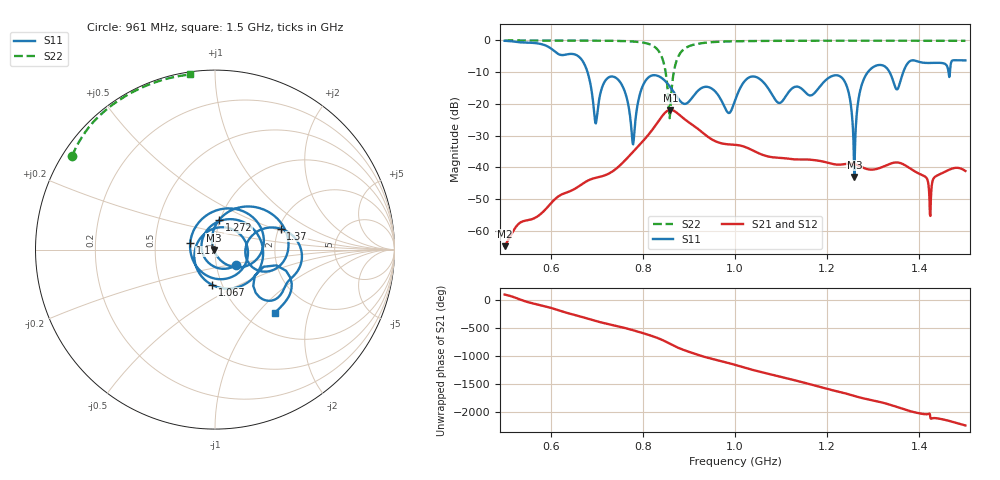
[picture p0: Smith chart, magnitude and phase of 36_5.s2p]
! TOUCHSTONE file generated by CST MICROWAVE STUDIO
! Date and time: Mon Nov 30 08:09:34 2020
! Project name: Scenario_1_Planar_Body_Tissue_Out_of_Line.cst
! Parameters = {dy1=259.5; L_HA=400; Ltissue=700; MT=2.54; Rad_Dielectric=30; Rad_Lower=7.3; Rad_Upper=30; Wtissue=700; a_HA=580; a_WG=246; b_HA=500; b_WG=121; c_HA=0; c_WG=187; d_feed=85; dx1=866; h_feed=15; h_lower=18; h_upper=40; hfat=3; hgap=25; hmuscle=50; hskin=1.5}
! Header version: 2018
! Port assignment regex: !\s*Touchstone port\s*([0-9]+)\s*=\s*(CST MWS port|CST DS port)\s*([0-9]+|Zmin|Zmax)\s*\(\"(.*)\"\)(\s*mode\s*([0-9]+))?.*
! Touchstone port assignment:
! Touchstone port 1 = CST MWS port 1 ("")
! Touchstone port 2 = CST MWS port 2 ("")
# GHz S DB R 50
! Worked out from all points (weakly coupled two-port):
!   1003 points, 500 MHz to 1.5 GHz, reference 50 ohm
!   highest |S21| = -21.87 dB at 860 MHz (marker M1); lowest = -64.8 dB at 500 MHz (marker M2)
!   lowest |S11| = -43.0 dB at 1.259 GHz (marker M3), VSWR 1.01, Z = 49.3 - j0.196 ohm
!   |S11| at or under -10 dB: 680 MHz to 1.288 GHz (608.3 MHz wide, 61.8 % of centre); 1.335 GHz to 1.365 GHz (29.64 MHz wide, 2.19 % of centre); 1.463383 GHz to 1.466466 GHz (3.083 MHz wide, 0.21 % of centre)
!   |S22| runs from -24.5 to 0.0 dB; largest |S21 - S12| = 0.00094
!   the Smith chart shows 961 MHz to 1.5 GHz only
!   S11 on the Smith chart (normalised r, x): 961 MHz: 1.24, -0.22; 1.067 GHz: 0.90, -0.37; 1.17 GHz: 0.76, +0.05; 1.272 GHz: 0.99, +0.33; 1.37 GHz: 2.05, +0.56; 1.5 GHz: 1.35, -1.24
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0.5  -0.12 -122.1  -64.82 88.0  -64.82 88.0  -0.01 151.2
0.583  -1.29 -167.4  -54.07 -110.7  -54.07 -110.7  -0.02 145.4
0.667  -6.01 125.2  -45.38 52.5  -45.38 52.5  -0.04 138.4
0.697  -25.98 129.1  -43.31 -19.4  -43.31 -19.4  -0.06 135.2
0.739  -11.57 137.7  -40.77 -102.2  -40.77 -102.2  -0.13 129.5
0.778  -32.52 126.6  -35.22 177.1  -35.22 177.1  -0.33 121.0
0.801  -13.94 166.6  -31.60 121.7  -31.60 121.7  -0.70 112.3
0.834  -11.25 77.4  -25.44 30.8  -25.44 30.7  -3.27 84.2
0.86  -14.80 0.8  -21.87 -71.0  -21.87 -71.0  -20.74 -101.0
0.884  -19.53 -89.7  -24.03 -160.6  -24.03 -160.6  -3.47 -177.3
0.961  -16.74 -36.7  -31.99 5.1  -31.99 5.1  -0.44 146.7
1  -18.95 115.9  -32.89 -77.9  -32.89 -77.9  -0.27 140.2
1.067  -14.08 -94.4  -36.38 133.5  -36.38 133.5  -0.15 132.7
1.167  -17.21 -179.6  -37.63 -72.9  -37.63 -72.9  -0.10 124.2
1.17  -16.92 165.8  -37.67 -79.5  -37.67 -79.5  -0.10 124.0
1.232  -11.76 -3.6  -39.08 151.1  -39.08 151.1  -0.08 119.2
1.259  -43.02 -163.7  -38.95 89.6  -38.95 89.6  -0.09 117.2
1.272  -15.59 82.2  -39.69 60.0  -39.69 60.0  -0.09 116.2
1.334  -9.62 -21.1  -39.00 -60.5  -39.00 -60.5  -0.09 111.5
1.37  -8.32 17.7  -39.40 -156.6  -39.40 -156.6  -0.09 108.8
1.424  -7.10 -27.8  -55.30 65.6  -56.66 98.5  -0.10 104.5
1.5  -6.29 -46.3  -41.13 -74.0  -41.13 -74.0  -0.13 98.0
